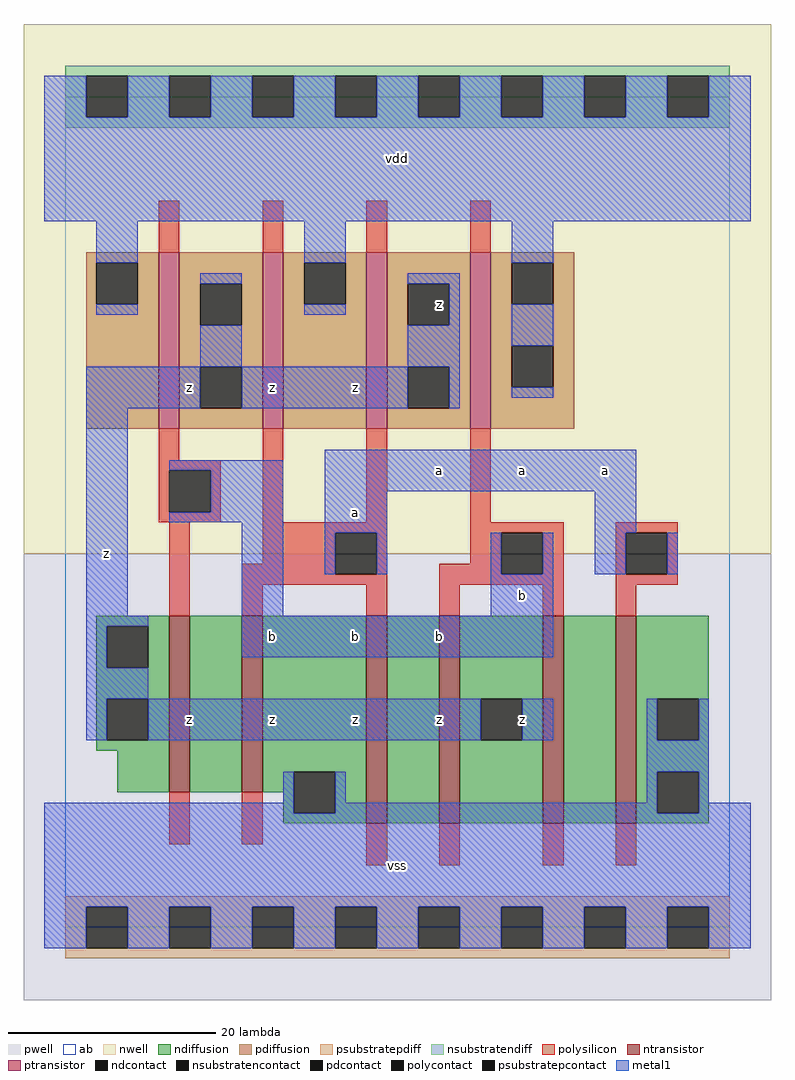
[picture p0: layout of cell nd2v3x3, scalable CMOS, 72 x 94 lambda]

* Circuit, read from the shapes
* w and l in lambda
.subckt nd2v3x3 a b vdd vss z
M1 n1 b z vss nfet w=17 l=2
M2 vss a n1 vss nfet w=17 l=2
M3 n2 a vss vss nfet w=20 l=2
M4 z b n2 vss nfet w=20 l=2
M5 n3 b z vss nfet w=20 l=2
M6 vss a n3 vss nfet w=20 l=2
M7 z b vdd vdd pfet w=17 l=2 m=2
M8 vdd a z vdd pfet w=17 l=2 m=2
.ends

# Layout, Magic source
magic
tech scmos
<< ab >>
rect 0 0 64 80
<< pwell >>
rect -4 -7 68 36
<< nwell >>
rect -4 36 68 87
<< polysilicon >>
rect 9 65 11 70
rect 19 65 21 70
rect 29 65 31 70
rect 39 65 41 70
rect 9 45 11 48
rect 9 44 15 45
rect 9 40 10 44
rect 14 40 15 44
rect 9 39 15 40
rect 19 39 21 48
rect 29 39 31 48
rect 10 30 12 39
rect 19 38 31 39
rect 19 35 26 38
rect 17 34 26 35
rect 30 34 31 38
rect 39 39 41 48
rect 39 38 48 39
rect 39 35 42 38
rect 17 33 31 34
rect 17 30 19 33
rect 29 30 31 33
rect 36 34 42 35
rect 46 34 48 38
rect 36 33 48 34
rect 36 30 38 33
rect 46 30 48 33
rect 53 38 59 39
rect 53 34 54 38
rect 58 34 59 38
rect 53 33 59 34
rect 53 30 55 33
rect 10 8 12 13
rect 17 8 19 13
rect 29 6 31 10
rect 36 6 38 10
rect 46 6 48 10
rect 53 6 55 10
<< ndiffusion >>
rect 3 29 10 30
rect 3 25 4 29
rect 8 25 10 29
rect 3 22 10 25
rect 3 18 4 22
rect 8 18 10 22
rect 3 17 10 18
rect 5 13 10 17
rect 12 13 17 30
rect 19 15 29 30
rect 19 13 22 15
rect 21 11 22 13
rect 26 11 29 15
rect 21 10 29 11
rect 31 10 36 30
rect 38 22 46 30
rect 38 18 40 22
rect 44 18 46 22
rect 38 10 46 18
rect 48 10 53 30
rect 55 22 62 30
rect 55 18 57 22
rect 61 18 62 22
rect 55 15 62 18
rect 55 11 57 15
rect 61 11 62 15
rect 55 10 62 11
<< pdiffusion >>
rect 2 64 9 65
rect 2 60 3 64
rect 7 60 9 64
rect 2 48 9 60
rect 11 62 19 65
rect 11 58 13 62
rect 17 58 19 62
rect 11 54 19 58
rect 11 50 13 54
rect 17 50 19 54
rect 11 48 19 50
rect 21 64 29 65
rect 21 60 23 64
rect 27 60 29 64
rect 21 48 29 60
rect 31 62 39 65
rect 31 58 33 62
rect 37 58 39 62
rect 31 54 39 58
rect 31 50 33 54
rect 37 50 39 54
rect 31 48 39 50
rect 41 64 49 65
rect 41 60 43 64
rect 47 60 49 64
rect 41 56 49 60
rect 41 52 43 56
rect 47 52 49 56
rect 41 48 49 52
<< metal1 >>
rect -2 78 2 82
rect 6 78 10 82
rect 14 78 18 82
rect 22 78 26 82
rect 30 78 34 82
rect 38 78 42 82
rect 46 78 50 82
rect 54 78 58 82
rect 62 78 66 82
rect -2 68 66 78
rect 3 64 7 68
rect 23 64 27 68
rect 3 59 7 60
rect 13 62 17 63
rect 43 64 47 68
rect 23 59 27 60
rect 33 62 38 63
rect 13 54 17 58
rect 37 58 38 62
rect 33 54 38 58
rect 2 50 13 54
rect 17 50 33 54
rect 37 50 38 54
rect 43 56 47 60
rect 43 51 47 52
rect 2 30 6 50
rect 10 44 21 45
rect 14 40 21 44
rect 10 39 21 40
rect 17 30 21 39
rect 25 42 55 46
rect 25 38 31 42
rect 51 38 55 42
rect 25 34 26 38
rect 30 34 31 38
rect 41 34 42 38
rect 46 34 47 38
rect 51 34 54 38
rect 58 34 59 38
rect 41 30 47 34
rect 2 29 8 30
rect 2 25 4 29
rect 17 26 47 30
rect 2 22 8 25
rect 2 18 4 22
rect 8 18 40 22
rect 44 18 47 22
rect 56 18 57 22
rect 61 18 62 22
rect 56 15 62 18
rect 21 12 22 15
rect -2 11 22 12
rect 26 12 27 15
rect 56 12 57 15
rect 26 11 57 12
rect 61 12 62 15
rect 61 11 66 12
rect -2 2 66 11
rect -2 -2 2 2
rect 6 -2 10 2
rect 14 -2 18 2
rect 22 -2 26 2
rect 30 -2 34 2
rect 38 -2 42 2
rect 46 -2 50 2
rect 54 -2 58 2
rect 62 -2 66 2
<< ntransistor >>
rect 10 13 12 30
rect 17 13 19 30
rect 29 10 31 30
rect 36 10 38 30
rect 46 10 48 30
rect 53 10 55 30
<< ptransistor >>
rect 9 48 11 65
rect 19 48 21 65
rect 29 48 31 65
rect 39 48 41 65
<< polycontact >>
rect 10 40 14 44
rect 26 34 30 38
rect 42 34 46 38
rect 54 34 58 38
<< ndcontact >>
rect 4 25 8 29
rect 4 18 8 22
rect 22 11 26 15
rect 40 18 44 22
rect 57 18 61 22
rect 57 11 61 15
<< pdcontact >>
rect 3 60 7 64
rect 13 58 17 62
rect 13 50 17 54
rect 23 60 27 64
rect 33 58 37 62
rect 33 50 37 54
rect 43 60 47 64
rect 43 52 47 56
<< psubstratepcontact >>
rect 2 -2 6 2
rect 10 -2 14 2
rect 18 -2 22 2
rect 26 -2 30 2
rect 34 -2 38 2
rect 42 -2 46 2
rect 50 -2 54 2
rect 58 -2 62 2
<< nsubstratencontact >>
rect 2 78 6 82
rect 10 78 14 82
rect 18 78 22 82
rect 26 78 30 82
rect 34 78 38 82
rect 42 78 46 82
rect 50 78 54 82
rect 58 78 62 82
<< psubstratepdiff >>
rect 0 2 64 3
rect 0 -2 2 2
rect 6 -2 10 2
rect 14 -2 18 2
rect 22 -2 26 2
rect 30 -2 34 2
rect 38 -2 42 2
rect 46 -2 50 2
rect 54 -2 58 2
rect 62 -2 64 2
rect 0 -3 64 -2
<< nsubstratendiff >>
rect 0 82 64 83
rect 0 78 2 82
rect 6 78 10 82
rect 14 78 18 82
rect 22 78 26 82
rect 30 78 34 82
rect 38 78 42 82
rect 46 78 50 82
rect 54 78 58 82
rect 62 78 64 82
rect 0 77 64 78
<< labels >>
rlabel metal1 4 36 4 36 6 z
rlabel metal1 12 20 12 20 6 z
rlabel metal1 20 20 20 20 6 z
rlabel metal1 20 28 20 28 6 b
rlabel metal1 20 52 20 52 6 z
rlabel metal1 12 52 12 52 6 z
rlabel metal1 32 6 32 6 6 vss
rlabel metal1 28 20 28 20 6 z
rlabel metal1 28 28 28 28 6 b
rlabel metal1 36 20 36 20 6 z
rlabel metal1 36 28 36 28 6 b
rlabel metal1 28 40 28 40 6 a
rlabel metal1 36 44 36 44 6 a
rlabel metal1 28 52 28 52 6 z
rlabel pdcontact 36 60 36 60 6 z
rlabel metal1 32 74 32 74 6 vdd
rlabel metal1 44 20 44 20 6 z
rlabel metal1 44 32 44 32 6 b
rlabel metal1 44 44 44 44 6 a
rlabel metal1 52 44 52 44 6 a
<< end >>
